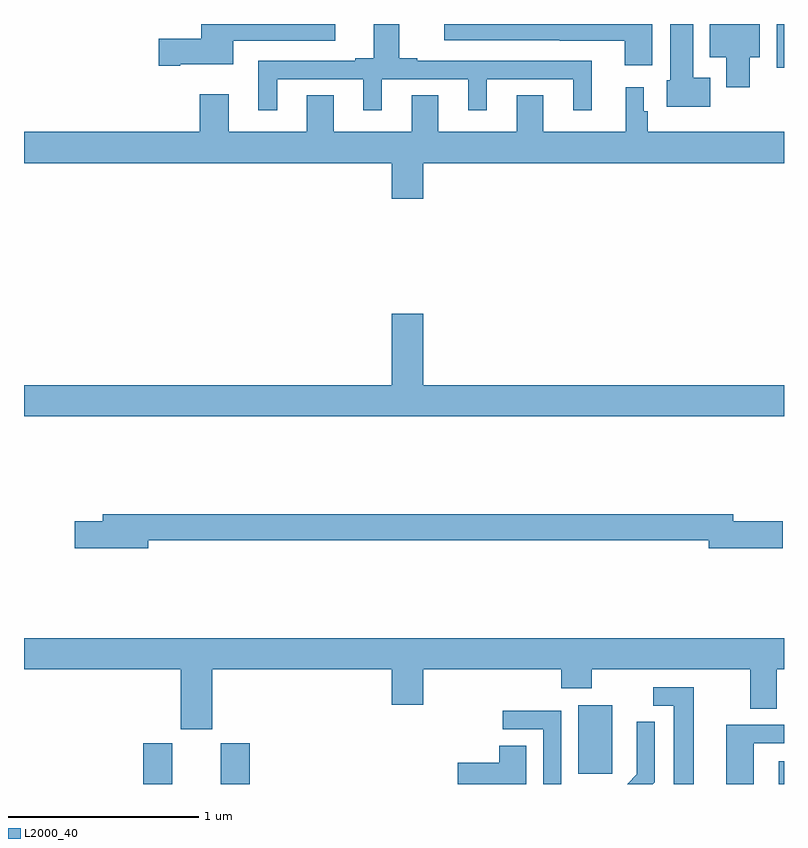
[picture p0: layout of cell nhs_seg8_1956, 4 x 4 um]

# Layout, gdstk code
import gdstk
lib = gdstk.Library(unit=1e-6, precision=1e-09)
def R(c, l, rs):  # rectangles x0, y0, x1, y1
    for r in rs: c.add(gdstk.rectangle(r[:2], r[2:], *l))
def P(c, l, *ps):  # polygons
    for p in ps: c.add(gdstk.Polygon(p, *l))
L2000_40 = (2000, 40)

nhs_seg8_1956 = lib.new_cell('nhs_seg8_1956')
R(nhs_seg8_1956, L2000_40, [(235.628,1111.9,235.78,1112.115), (236.036,1111.9,236.189,1112.115), (238.973,1111.9,239,1112.02), (237.917,1111.953,238.096,1112.314), (238.961,1115.669,239,1115.9)])
P(nhs_seg8_1956, L2000_40, [(238.819,1115.726),(238.873,1115.726),(238.873,1115.9),(238.61,1115.9),(238.61,1115.726),(238.697,1115.726),(238.697,1115.568),(238.819,1115.568)],
  [(238.612,1115.617),(238.522,1115.617),(238.522,1115.9),(238.4,1115.9),(238.4,1115.604),(238.382,1115.604),(238.382,1115.465),(238.612,1115.465)],
  [(235.822,1115.687),(236.101,1115.687),(236.101,1115.813),(236.638,1115.813),(236.638,1115.9),(235.934,1115.9),(235.934,1115.822),(235.71,1115.822),(235.71,1115.68),(235.822,1115.68)],
  [(236.332,1115.61),(236.786,1115.61),(236.786,1115.445),(236.884,1115.445),(236.884,1115.61),(237.338,1115.61),(237.338,1115.445),(237.436,1115.445),(237.436,1115.61),(237.89,1115.61),(237.89,1115.445),(237.989,1115.445),(237.989,1115.706),(237.07,1115.706),(237.07,1115.719),(236.974,1115.719),(236.974,1115.9),(236.84,1115.9),(236.84,1115.719),(236.744,1115.719),(236.744,1115.706),(236.234,1115.706),(236.234,1115.445),(236.332,1115.445)],
  [(238.306,1115.9),(237.213,1115.9),(237.213,1115.814),(237.82,1115.814),(237.82,1115.812),(238.163,1115.812),(238.163,1115.682),(238.306,1115.682)],
  [(237.1,1115.168),(239,1115.168),(239,1115.332),(238.283,1115.332),(238.283,1115.441),(238.263,1115.441),(238.263,1115.566),(238.166,1115.566),(238.166,1115.332),(237.733,1115.332),(237.733,1115.525),(237.593,1115.525),(237.593,1115.332),(237.181,1115.332),(237.181,1115.525),(237.041,1115.525),(237.041,1115.332),(236.629,1115.332),(236.629,1115.525),(236.489,1115.525),(236.489,1115.332),(236.077,1115.332),(236.077,1115.53),(235.925,1115.53),(235.925,1115.332),(235,1115.332),(235,1115.168),(236.936,1115.168),(236.936,1114.98),(237.1,1114.98)],
  [(239,1114),(237.1,1114),(237.1,1114.375),(236.936,1114.375),(236.936,1114),(235,1114),(235,1113.836),(239,1113.836)],
  [(235.654,1113.184),(238.604,1113.184),(238.604,1113.142),(238.993,1113.142),(238.993,1113.284),(238.732,1113.284),(238.732,1113.32),(235.415,1113.32),(235.415,1113.284),(235.266,1113.284),(235.266,1113.142),(235.654,1113.142)],
  [(235.99,1112.504),(236.936,1112.504),(236.936,1112.316),(237.1,1112.316),(237.1,1112.504),(237.827,1112.504),(237.827,1112.405),(237.987,1112.405),(237.987,1112.504),(238.823,1112.504),(238.823,1112.296),(238.963,1112.296),(238.963,1112.504),(239,1112.504),(239,1112.668),(235,1112.668),(235,1112.504),(235.826,1112.504),(235.826,1112.187),(235.99,1112.187)],
  [(238.525,1112.409),(238.311,1112.409),(238.311,1112.313),(238.421,1112.313),(238.421,1111.9),(238.525,1111.9)],
  [(237.828,1112.286),(237.519,1112.286),(237.519,1112.187),(237.732,1112.187),(237.732,1111.9),(237.828,1111.9)],
  [(238.32,1111.91),(238.32,1112.228),(238.224,1112.228),(238.224,1112.074),(238.226,1112.074),(238.226,1111.952),(238.174,1111.9),(238.31,1111.9)],
  [(238.842,1112.115),(239,1112.115),(239,1112.211),(238.697,1112.211),(238.697,1111.9),(238.842,1111.9)],
  [(237.643,1112.102),(237.5,1112.102),(237.5,1112.012),(237.282,1112.012),(237.282,1111.9),(237.643,1111.9)])

lib.write_gds('nhs_seg8_1956.gds')
